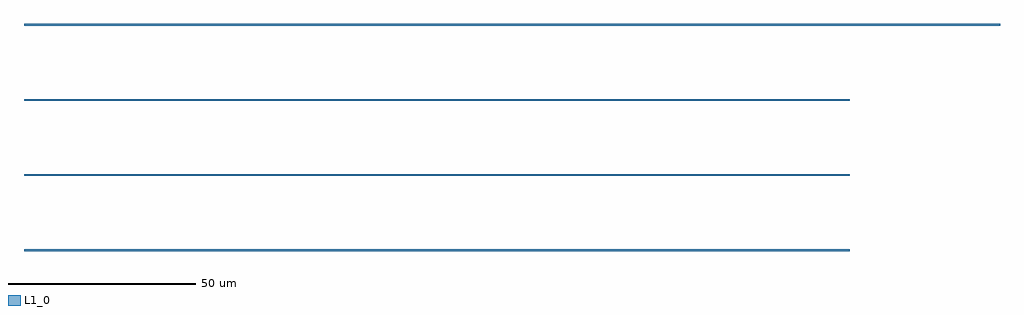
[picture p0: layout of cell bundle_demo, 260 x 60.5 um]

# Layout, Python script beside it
import gdsfactory as gf

gf.gpdk.PDK.activate()


@gf.cell
def bundle_demo():
    c = gf.Component()

    inputs = []
    outputs = []

    for i in range(4):
        wg_in = c << gf.components.straight(length=20)
        wg_in.move((0, i * 20))
        inputs.append(wg_in)

        wg_out = c << gf.components.straight(length=20)
        wg_out.move((200, i * 20))
        outputs.append(wg_out)

    # Move only the last output 40 µm farther right
    outputs[-1].move((40, 0))

    routes = gf.routing.route_bundle(
        c,
        ports1=[ref.ports["o2"] for ref in inputs],
        ports2=[ref.ports["o1"] for ref in outputs],
        cross_section="strip",
    )

    for i, route in enumerate(routes):
        print(i, route.length)

    return c
if __name__ == "__main__":
    c = bundle_demo()
    c.write_gds("bundle_routing.gds")
    c.show()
